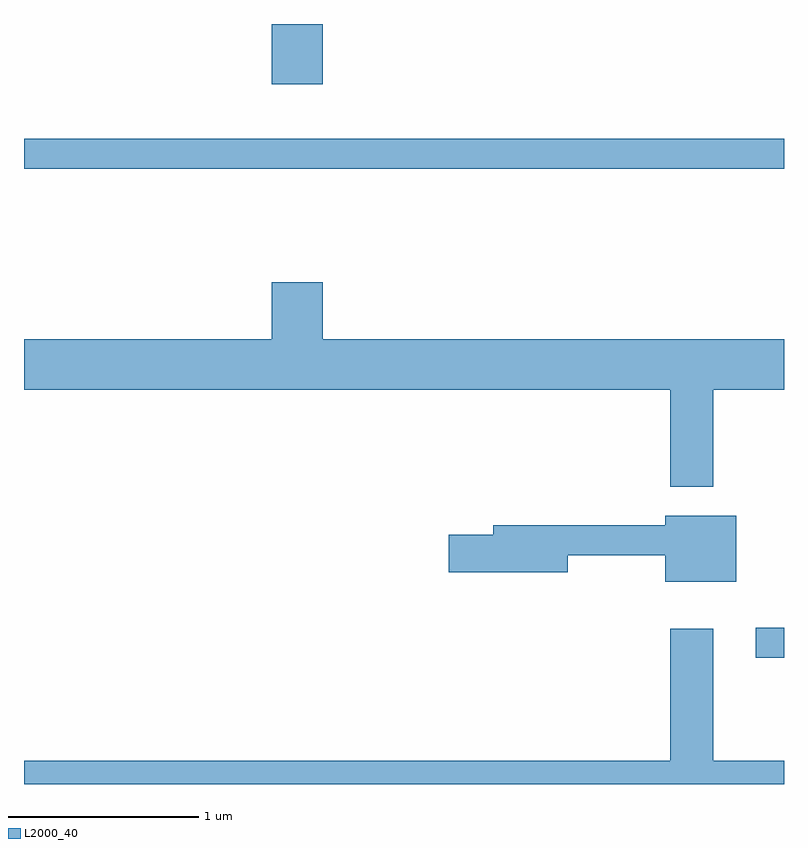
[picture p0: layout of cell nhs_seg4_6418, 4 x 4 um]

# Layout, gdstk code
import gdstk
lib = gdstk.Library(unit=1e-6, precision=1e-09)
def R(c, l, rs):  # rectangles x0, y0, x1, y1
    for r in rs: c.add(gdstk.rectangle(r[:2], r[2:], *l))
def P(c, l, *ps):  # polygons
    for p in ps: c.add(gdstk.Polygon(p, *l))
L2000_40 = (2000, 40)

nhs_seg4_6418 = lib.new_cell('nhs_seg4_6418')
R(nhs_seg4_6418, L2000_40, [(377.463,1306.646,377.611,1306.804), (373.611,1309.221,377.611,1309.379), (374.916,1309.666,375.184,1309.982)])
P(nhs_seg4_6418, L2000_40, [(377.239,1308.056),(377.611,1308.056),(377.611,1308.324),(375.184,1308.324),(375.184,1308.624),(374.916,1308.624),(374.916,1308.324),(373.611,1308.324),(373.611,1308.056),(377.011,1308.056),(377.011,1307.546),(377.239,1307.546)],
  [(377.359,1307.394),(376.986,1307.394),(376.986,1307.344),(376.081,1307.344),(376.081,1307.294),(375.846,1307.294),(375.846,1307.096),(376.474,1307.096),(376.474,1307.186),(376.986,1307.186),(376.986,1307.046),(377.359,1307.046)],
  [(377.611,1306.104),(377.239,1306.104),(377.239,1306.799),(377.011,1306.799),(377.011,1306.104),(373.611,1306.104),(373.611,1305.982),(377.611,1305.982)])

lib.write_gds('nhs_seg4_6418.gds')
